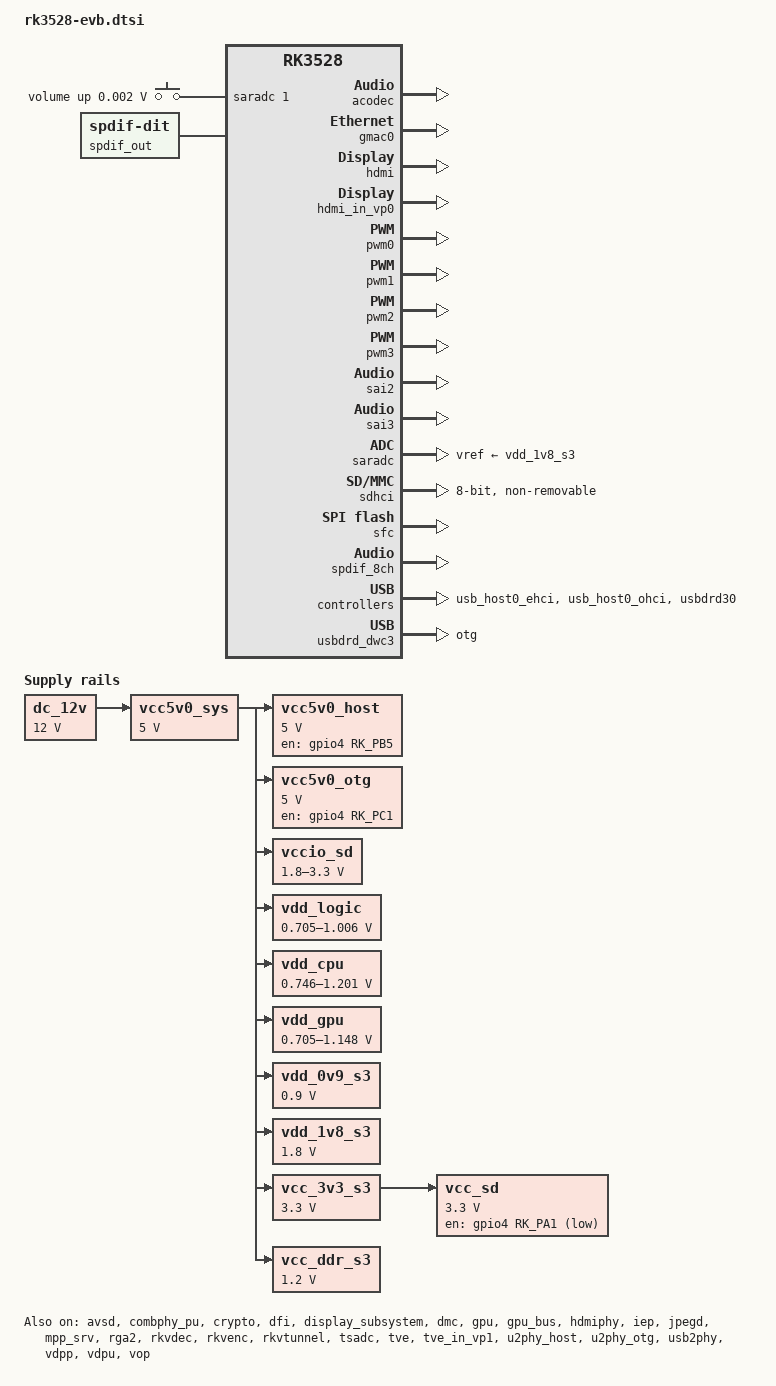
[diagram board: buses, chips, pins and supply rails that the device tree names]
// SPDX-License-Identifier: (GPL-2.0+ OR MIT)
/*
 * Copyright (c) 2022 Rockchip Electronics Co., Ltd.
 *
 */

#include "rk3528.dtsi"
#include <dt-bindings/gpio/gpio.h>
#include <dt-bindings/input/rk-input.h>
#include <dt-bindings/pinctrl/rockchip.h>

/ {
	acodec_sound: acodec-sound {
		status = "okay";
		compatible = "simple-audio-card";
		simple-audio-card,name = "rk3528-acodec";
		simple-audio-card,format = "i2s";
		simple-audio-card,mclk-fs = <256>;
		simple-audio-card,cpu {
			sound-dai = <&sai2>;
		};
		simple-audio-card,codec {
			sound-dai = <&acodec>;
		};
	};

	adc_keys: adc-keys {
		status = "okay";
		compatible = "adc-keys";
		io-channels = <&saradc 1>;
		io-channel-names = "buttons";
		keyup-threshold-microvolt = <1800000>;
		poll-interval = <100>;

		vol-up-key {
			label = "volume up";
			linux,code = <KEY_VOLUMEUP>;
			press-threshold-microvolt = <1750>;
		};
	};

	bt_sco: bt-sco {
		status = "disabled";
		compatible = "delta,dfbmcs320";
		#sound-dai-cells = <1>;
	};

	bt_sound: bt-sound {
		status = "disabled";
		compatible = "simple-audio-card";
		simple-audio-card,format = "dsp_a";
		simple-audio-card,bitclock-inversion = <0>;
		simple-audio-card,mclk-fs = <256>;
		simple-audio-card,name = "rockchip,bt";
		simple-audio-card,cpu {
			sound-dai = <&sai0>;
		};
		simple-audio-card,codec {
			sound-dai = <&bt_sco 1>;
		};
	};

	dc_12v: dc-12v {
		compatible = "regulator-fixed";
		regulator-name = "dc_12v";
		regulator-always-on;
		regulator-boot-on;
		regulator-min-microvolt = <12000000>;
		regulator-max-microvolt = <12000000>;
	};

	es7243_sound: es7243-sound {
		status = "disabled";
		compatible = "simple-audio-card";
		simple-audio-card,name = "rockchip,es7243";
		simple-audio-card,format = "i2s";
		simple-audio-card,mclk-fs = <256>;

		simple-audio-card,cpu {
			sound-dai = <&sai1>;
		};
		simple-audio-card,codec {
			sound-dai = <&es7243e>;
		};
	};

	hdmi_sound: hdmi-sound {
		compatible = "rockchip,hdmi";
		rockchip,mclk-fs = <128>;
		rockchip,card-name = "rockchip,hdmi";
		rockchip,cpu = <&sai3>;
		rockchip,codec = <&hdmi>;
		rockchip,jack-det;
	};

	pdmics: dummy-codec {
		status = "disabled";
		compatible = "rockchip,dummy-codec";
		#sound-dai-cells = <0>;
	};

	pdm_mic_array: pdm-mic-array {
		status = "disabled";
		compatible = "simple-audio-card";
		simple-audio-card,name = "rockchip,pdm-mic-array";
		simple-audio-card,cpu {
			sound-dai = <&pdm>;
		};
		simple-audio-card,codec {
			sound-dai = <&pdmics>;
		};
	};

	spdif-sound {
		status = "okay";
		compatible = "simple-audio-card";
		simple-audio-card,name = "ROCKCHIP,SPDIF";
		simple-audio-card,mclk-fs = <128>;
		simple-audio-card,cpu {
			sound-dai = <&spdif_8ch>;
		};
		simple-audio-card,codec {
			sound-dai = <&spdif_out>;
		};
	};

	spdif_out: spdif-out {
		status = "okay";
		compatible = "linux,spdif-dit";
		#sound-dai-cells = <0>;
	};

	vcc5v0_sys: vcc5v0-sys {
		compatible = "regulator-fixed";
		regulator-name = "vcc5v0_sys";
		regulator-always-on;
		regulator-boot-on;
		regulator-min-microvolt = <5000000>;
		regulator-max-microvolt = <5000000>;
		vin-supply = <&dc_12v>;
	};

	vcc5v0_host: vcc5v0-host-regulator {
		compatible = "regulator-fixed";
		regulator-name = "vcc5v0_host";
		regulator-boot-on;
		regulator-always-on;
		regulator-min-microvolt = <5000000>;
		regulator-max-microvolt = <5000000>;
		enable-active-high;
		gpio = <&gpio4 RK_PB5 GPIO_ACTIVE_HIGH>;
		vin-supply = <&vcc5v0_sys>;
		pinctrl-names = "default";
		pinctrl-0 = <&vcc5v0_host_en>;
	};

	vcc5v0_otg: vcc5v0-otg-regulator {
		compatible = "regulator-fixed";
		regulator-name = "vcc5v0_otg";
		regulator-min-microvolt = <5000000>;
		regulator-max-microvolt = <5000000>;
		enable-active-high;
		gpio = <&gpio4 RK_PC1 GPIO_ACTIVE_HIGH>;
		vin-supply = <&vcc5v0_sys>;
		pinctrl-names = "default";
		pinctrl-0 = <&vcc5v0_otg_en>;
	};

	/omit-if-no-ref/
	vccio_sd: vccio-sd {
		compatible = "regulator-gpio";
		regulator-name = "vccio_sd";
		regulator-min-microvolt = <1800000>;
		regulator-max-microvolt = <3300000>;
		gpios = <&gpio4 RK_PB6 GPIO_ACTIVE_HIGH>;
		vin-supply = <&vcc5v0_sys>;
		states = <1800000 0x0
			  3300000 0x1>;
	};

	vdd_logic: vdd-logic {
		compatible = "pwm-regulator";
		pwms = <&pwm2 0 5000 1>;
		regulator-name = "vdd_logic";
		regulator-min-microvolt = <705000>;
		regulator-max-microvolt = <1006000>;
		regulator-init-microvolt = <900000>;
		regulator-always-on;
		regulator-boot-on;
		regulator-settling-time-up-us = <250>;
		pwm-supply = <&vcc5v0_sys>;
		status = "okay";
	};

	vdd_cpu: vdd-cpu {
		compatible = "pwm-regulator";
		pwms = <&pwm1 0 5000 1>;
		regulator-name = "vdd_cpu";
		regulator-min-microvolt = <746000>;
		regulator-max-microvolt = <1201000>;
		regulator-init-microvolt = <953000>;
		regulator-always-on;
		regulator-boot-on;
		regulator-settling-time-up-us = <250>;
		pwm-supply = <&vcc5v0_sys>;
		status = "okay";
	};

	vdd_gpu: vdd-gpu {
		compatible = "pwm-regulator";
		pwms = <&pwm0 0 5000 1>;
		regulator-name = "vdd_gpu";
		regulator-min-microvolt = <705000>;
		regulator-max-microvolt = <1148000>;
		regulator-init-microvolt = <900000>;
		regulator-always-on;
		regulator-boot-on;
		regulator-settling-time-up-us = <250>;
		pwm-supply = <&vcc5v0_sys>;
		status = "okay";
	};

	vdd_0v9_s3: vdd-0v9-s3 {
		compatible = "regulator-fixed";
		regulator-name = "vdd_0v9_s3";
		regulator-always-on;
		regulator-boot-on;
		regulator-min-microvolt = <900000>;
		regulator-max-microvolt = <900000>;
		vin-supply = <&vcc5v0_sys>;
	};

	vdd_1v8_s3: vdd-1v8-s3 {
		compatible = "regulator-fixed";
		regulator-name = "vdd_1v8_s3";
		regulator-always-on;
		regulator-boot-on;
		regulator-min-microvolt = <1800000>;
		regulator-max-microvolt = <1800000>;
		vin-supply = <&vcc5v0_sys>;
	};

	vcc_3v3_s3: vcc-3v3-s3 {
		compatible = "regulator-fixed";
		regulator-name = "vcc_3v3_s3";
		regulator-always-on;
		regulator-boot-on;
		regulator-min-microvolt = <3300000>;
		regulator-max-microvolt = <3300000>;
		vin-supply = <&vcc5v0_sys>;
	};

	/omit-if-no-ref/
	vcc_sd: vcc-sd {
		compatible = "regulator-fixed";
		gpio = <&gpio4 RK_PA1 GPIO_ACTIVE_LOW>;
		regulator-name = "vcc_sd";
		regulator-min-microvolt = <3300000>;
		regulator-max-microvolt = <3300000>;
		vin-supply = <&vcc_3v3_s3>;
	};

	vcc_ddr_s3: vcc-ddr-s3 {
		compatible = "regulator-fixed";
		regulator-name = "vcc_ddr_s3";
		regulator-always-on;
		regulator-boot-on;
		regulator-min-microvolt = <1200000>;
		regulator-max-microvolt = <1200000>;
		vin-supply = <&vcc5v0_sys>;
	};
};

&acodec {
	pa-ctl-gpios = <&gpio0 RK_PA0 GPIO_ACTIVE_HIGH>;
	status = "okay";
};

&avsd {
	status = "okay";
};

&combphy_pu {
	status = "okay";
};

&cpu0 {
	cpu-supply = <&vdd_cpu>;
};

&crypto {
	status = "okay";
};

&dfi {
	status = "okay";
};

&display_subsystem {
	status = "okay";
};

&dmc {
	center-supply = <&vdd_logic>;
	status = "okay";
};

&gmac0 {
	status = "okay";
};

&gpu {
	mali-supply = <&vdd_gpu>;
	status = "okay";
};

&gpu_bus {
	bus-supply = <&vdd_logic>;
	status = "okay";
};

&hdmi {
	status = "okay";
};

&hdmi_in_vp0 {
	status = "okay";
};

&hdmiphy {
	status = "okay";
};

&i2c6 {
	status = "disabled";
	es7243e: es7243e@10 {
		status = "okay";
		#sound-dai-cells = <0>;
		compatible = "ES7243E_MicArray_0";
		reg = <0x10>;
	};

	es7243e_11: es7243e@11 {
		status = "okay";
		#sound-dai-cells = <0>;
		compatible = "ES7243E_MicArray_1";
		reg = <0x11>;
	};

	es7243e_12: es7243e@12 {
		status = "okay";
		#sound-dai-cells = <0>;
		compatible = "ES7243E_MicArray_2";
		reg = <0x12>;
	};
};

&iep {
	status = "okay";
};

&iep_mmu {
	status = "okay";
};

&jpegd {
	status = "okay";
};

&jpegd_mmu {
	status = "okay";
};

&mpp_srv {
	status = "okay";
};

&pinctrl {
	usb {
		vcc5v0_host_en: vcc5v0-host-en {
			rockchip,pins = <4 RK_PB5 RK_FUNC_GPIO &pcfg_pull_none>;
		};

		vcc5v0_otg_en: vcc5v0-otg-en {
			rockchip,pins = <4 RK_PC1 RK_FUNC_GPIO &pcfg_pull_none>;
		};
	};
};

&pwm0 {
	status = "okay";
};

&pwm1 {
	status = "okay";
};

&pwm2 {
	status = "okay";
};

&pwm3 {
	compatible = "rockchip,remotectl-pwm";
	pinctrl-names = "default";
	pinctrl-0 = <&pwm3m0_pins>;
	remote_pwm_id = <3>;
	handle_cpu_id = <1>;
	remote_support_psci = <0>;
	status = "okay";

	ir_key1 {
		rockchip,usercode = <0x4040>;
		rockchip,key_table =
			<0xf2	KEY_REPLY>,
			<0xba	KEY_BACK>,
			<0xf4	KEY_UP>,
			<0xf1	KEY_DOWN>,
			<0xef	KEY_LEFT>,
			<0xee	KEY_RIGHT>,
			<0xbd	KEY_HOME>,
			<0xea	KEY_VOLUMEUP>,
			<0xe3	KEY_VOLUMEDOWN>,
			<0xe2	KEY_SEARCH>,
			<0xb2	KEY_POWER>,
			<0xbc	KEY_MUTE>,
			<0xec	KEY_MENU>,
			<0xbf	0x190>,
			<0xe0	0x191>,
			<0xe1	0x192>,
			<0xe9	183>,
			<0xe6	248>,
			<0xe8	185>,
			<0xe7	186>,
			<0xf0	388>,
			<0xbe	0x175>;
	};

	ir_key2 {
		rockchip,usercode = <0xff00>;
		rockchip,key_table =
			<0xf9	KEY_HOME>,
			<0xbf	KEY_BACK>,
			<0xfb	KEY_MENU>,
			<0xaa	KEY_REPLY>,
			<0xb9	KEY_UP>,
			<0xe9	KEY_DOWN>,
			<0xb8	KEY_LEFT>,
			<0xea	KEY_RIGHT>,
			<0xeb	KEY_VOLUMEDOWN>,
			<0xef	KEY_VOLUMEUP>,
			<0xf7	KEY_MUTE>,
			<0xe7	KEY_POWER>,
			<0xfc	KEY_POWER>,
			<0xa9	KEY_VOLUMEDOWN>,
			<0xa8	KEY_PLAYPAUSE>,
			<0xe0	KEY_VOLUMEDOWN>,
			<0xa5	KEY_VOLUMEDOWN>,
			<0xab	183>,
			<0xb7	388>,
			<0xe8	388>,
			<0xf8	184>,
			<0xaf	185>,
			<0xed	KEY_VOLUMEDOWN>,
			<0xee	186>,
			<0xb3	KEY_VOLUMEDOWN>,
			<0xf1	KEY_VOLUMEDOWN>,
			<0xf2	KEY_VOLUMEDOWN>,
			<0xf3	KEY_SEARCH>,
			<0xb4	KEY_VOLUMEDOWN>,
			<0xa4	KEY_SETUP>,
			<0xbe	KEY_SEARCH>;
	};

	ir_key3 {
		rockchip,usercode = <0x1dcc>;
		rockchip,key_table =
			<0xee	KEY_REPLY>,
			<0xf0	KEY_BACK>,
			<0xf8	KEY_UP>,
			<0xbb	KEY_DOWN>,
			<0xef	KEY_LEFT>,
			<0xed	KEY_RIGHT>,
			<0xfc	KEY_HOME>,
			<0xf1	KEY_VOLUMEUP>,
			<0xfd	KEY_VOLUMEDOWN>,
			<0xb7	KEY_SEARCH>,
			<0xff	KEY_POWER>,
			<0xf3	KEY_MUTE>,
			<0xbf	KEY_MENU>,
			<0xf9	0x191>,
			<0xf5	0x192>,
			<0xb3	388>,
			<0xbe	KEY_1>,
			<0xba	KEY_2>,
			<0xb2	KEY_3>,
			<0xbd	KEY_4>,
			<0xf9	KEY_5>,
			<0xb1	KEY_6>,
			<0xfc	KEY_7>,
			<0xf8	KEY_8>,
			<0xb0	KEY_9>,
			<0xb6	KEY_0>,
			<0xb5	KEY_BACKSPACE>;
	};
};

&rga2 {
	status = "okay";
};

&rga2_mmu {
	status = "okay";
};

&rkvdec {
	status = "okay";
};

&rkvdec_mmu {
	status = "okay";
};

&rkvenc {
	status = "okay";
};

&rkvenc_mmu {
	status = "okay";
};

&rkvtunnel {
	status = "okay";
};

&rockchip_suspend {
	status = "okay";
	rockchip,sleep-debug-en = <1>;
	rockchip,virtual-poweroff = <1>;
	rockchip,sleep-mode-config = <
		(0
		| RKPM_SLP_ARMPD
		)
	>;
	rockchip,wakeup-config = <
		(0
		| RKPM_CPU0_WKUP_EN
		| RKPM_GPIO_WKUP_EN
		)
	>;
	rockchip,pwm-regulator-config = <
		(0
		| RKPM_PWM0_M0_REGULATOR_EN
		| RKPM_PWM1_M0_REGULATOR_EN
		)
	>;
};

&sai0 {
	pinctrl-0 = <&i2s0m1_lrck &i2s0m1_sclk &i2s0m1_sdi &i2s0m1_sdo>;
	status = "disabled";
};

&sai2 {
	status = "okay";
};

&sai3 {
	status = "okay";
};

&saradc {
	status = "okay";
	vref-supply = <&vdd_1v8_s3>;
};

&sdhci {
	bus-width = <8>;
	no-sd;
	no-sdio;
	non-removable;
	mmc-hs400-1_8v;
	mmc-hs400-enhanced-strobe;
	max-frequency = <200000000>;
	status = "okay";
};

&sdmmc {
	bus-width = <4>;
	cap-mmc-highspeed;
	cap-sd-highspeed;
	disable-wp;
	max-frequency = <150000000>;
	pinctrl-names = "default";
	pinctrl-0 = <&sdmmc_clk &sdmmc_cmd &sdmmc_det &sdmmc_bus4>;
	rockchip,default-sample-phase = <90>;
	supports-sd;
	sd-uhs-sdr12;
	sd-uhs-sdr25;
	sd-uhs-sdr50;
	sd-uhs-sdr104;
	vqmmc-supply = <&vccio_sd>;
	vmmc-supply = <&vcc_sd>;
	status = "disabled";
};

&sfc {
	status = "okay";
};

&spdif_8ch {
	status = "okay";
};

&tsadc {
	status = "okay";
};

&tve {
	status = "okay";
};

&tve_in_vp1 {
	status = "okay";
};

&u2phy_host {
	phy-supply = <&vcc5v0_host>;
	status = "okay";
};

&u2phy_otg {
	vbus-supply = <&vcc5v0_otg>;
	status = "okay";
};

&usb2phy {
	status = "okay";
};

&usb_host0_ehci {
	status = "okay";
};

&usb_host0_ohci {
	status = "okay";
};

&usbdrd30 {
	status = "okay";
};

&usbdrd_dwc3 {
	dr_mode = "otg";
	extcon = <&usb2phy>;
	status = "okay";
};

&vdpp {
	status = "okay";
};

&vdpu {
	status = "okay";
};

&vdpu_mmu {
	status = "okay";
};

&vop {
	status = "okay";
};

&vop_mmu {
	status = "okay";
};
